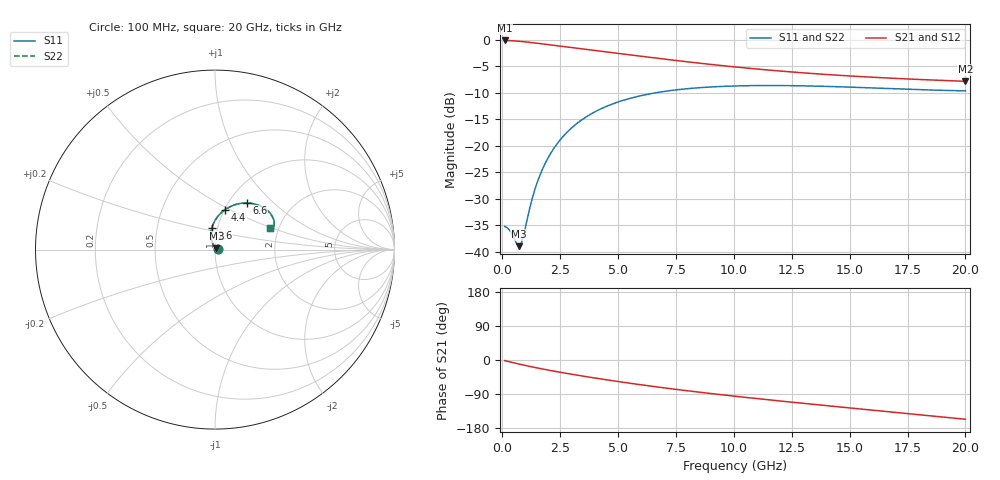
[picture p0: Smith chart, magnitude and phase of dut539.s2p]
! Touchstone file exported from HFSS 2024.1.0
!  File:  C:/UserFiles/LocalFiles/RDL_TSV_Batchsim/temp_RDL_TSV_539_1779746718.aedt
!  Generated:  06:20:37 AM May 26, 2026
!  Design:  RDL_TSV
!  Project:  temp_RDL_TSV_539_1779746718
!  Setup:  Setup1
!  Solution:  Sweep
! Variables:
!  dtsv = 14.42um
!  hbump = 3um
!  htsv = 53.39um
!  ldown = 470.4um
!  lrdl = 192.11um
!  p = 40
!  p1 = 54.81um
!  rhole = 10um
!  subl = 2179.64um
!  t = 450um
!  tdown = 2.37um
!  trdl = 2.89um
!  viad = 10um
!  wdown = 20.43um
!  wrdl = 13.44um
!  xbump = 18um
# GHz S MA R 50.000000
! Terminal data exported
! Port[1] = TM1_1_T1
! Port[2] = TM1_4_T1
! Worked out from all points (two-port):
!   200 points, 100 MHz to 20 GHz, reference 50 ohm
!   highest |S21| = -0.16 dB at 100 MHz (marker M1); lowest = -7.9 dB at 20 GHz (marker M2)
!   |S21| within 3 dB of the highest: start of sweep to 6.033 GHz
!   lowest |S11| = -39.0 dB at 700 MHz (marker M3), VSWR 1.02, Z = 50.8 + j0.83 ohm
!   |S11| at or under -10 dB: start of sweep to 6.668 GHz
!   |S22| runs from -39.0 to -8.7 dB; largest |S21 - S12| = 1.3e-14
!   S11 on the Smith chart (normalised r, x): 100 MHz: 1.04, +0.00; 2.6 GHz: 0.94, +0.23; 4.4 GHz: 1.01, +0.47; 6.6 GHz: 1.21, +0.70; 20 GHz: 1.79, +0.49
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0.1  0.01725 3.0  0.9822 -1.5  0.9822 -1.5  0.01725 3.0
! Gamma 0 0 0 0
! Port Impedance 50 0 50 0
0.3  0.01607 9.4  0.9788 -4.6  0.9788 -4.6  0.01607 9.4
0.7  0.01125 46.6  0.9656 -10.4  0.9656 -10.4  0.01125 46.6
0.8  0.01163 65.5  0.9613 -11.7  0.9613 -11.7  0.01163 65.4
0.9  0.01362 82.6  0.9567 -13.1  0.9567 -13.1  0.01361 82.5
1.1  0.02141 102.2  0.9468 -15.8  0.9468 -15.8  0.02137 102.1
1.3  0.0321 109.0  0.9361 -18.4  0.9361 -18.4  0.03205 108.9
1.6  0.05085 110.3  0.9194 -22.1  0.9194 -22.1  0.05078 110.2
2  0.07821 106.7  0.8967 -26.8  0.8967 -26.8  0.0781 106.6
2.3  0.09928 102.7  0.8798 -30.2  0.8798 -30.2  0.09915 102.7
2.6  0.1202 98.6  0.8633 -33.4  0.8633 -33.4  0.1201 98.6
3  0.1473 93.1  0.8418 -37.6  0.8418 -37.6  0.1471 93.0
3.5  0.1792 86.5  0.8157 -42.7  0.8157 -42.7  0.179 86.5
4.4  0.2296 75.9  0.7708 -51.4  0.7708 -51.4  0.2293 75.8
5.4  0.2746 65.8  0.7235 -60.4  0.7235 -60.4  0.2743 65.8
6.6  0.3144 55.8  0.6712 -70.4  0.6712 -70.4  0.314 55.7
6.8  0.3197 54.3  0.663 -72.0  0.663 -72.0  0.3192 54.2
8.4  0.3505 44.0  0.6032 -84.1  0.6032 -84.1  0.35 44.0
10.1  0.3657 35.7  0.551 -95.9  0.551 -95.9  0.3652 35.6
13.4  0.3648 25.3  0.4787 -116.8  0.4787 -116.8  0.3641 25.2
16.7  0.3456 20.8  0.4336 -136.6  0.4336 -136.6  0.3449 20.8
20  0.3285 21.6  0.4045 -156.4  0.4045 -156.4  0.3278 21.6
